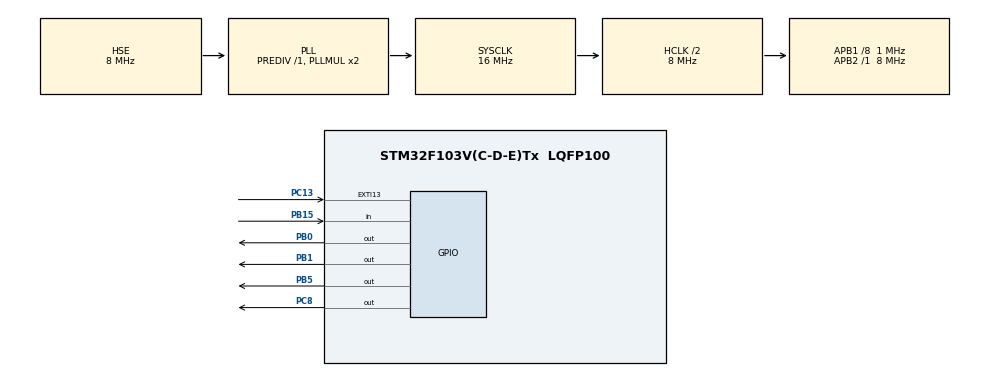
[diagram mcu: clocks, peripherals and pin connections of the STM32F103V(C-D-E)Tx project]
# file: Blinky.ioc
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Mcu.Family=STM32F1
Mcu.Name=STM32F103V(C-D-E)Tx
Mcu.Package=LQFP100
NVIC.EXTI15_10_IRQn=true\:0\:0\:false\:false\:true\:true\:true
NVIC.PriorityGroup=NVIC_PRIORITYGROUP_4
OSC_IN.Mode=HSE-External-Oscillator
OSC_IN.Signal=RCC_OSC_IN
OSC_OUT.Mode=HSE-External-Oscillator
OSC_OUT.Signal=RCC_OSC_OUT
PA13.Mode=Serial_Wire
PA13.Signal=SYS_JTMS-SWDIO
PA14.Mode=Serial_Wire
PA14.Signal=SYS_JTCK-SWCLK
PB0.GPIO_Speed=GPIO_SPEED_FREQ_HIGH
PB0.PinState=GPIO_PIN_SET
PB0.Signal=GPIO_Output
PB1.GPIO_Speed=GPIO_SPEED_FREQ_HIGH
PB1.PinState=GPIO_PIN_SET
PB1.Signal=GPIO_Output
PB15.GPIO_PuPd=GPIO_PULLDOWN
PB15.Signal=GPIO_Input
PB5.GPIO_Speed=GPIO_SPEED_FREQ_HIGH
PB5.PinState=GPIO_PIN_SET
PB5.Signal=GPIO_Output
PC13-TAMPER-RTC.Signal=GPXTI13
PC14-OSC32_IN.Mode=LSE-External-Oscillator
PC14-OSC32_IN.Signal=RCC_OSC32_IN
PC15-OSC32_OUT.Mode=LSE-External-Oscillator
PC15-OSC32_OUT.Signal=RCC_OSC32_OUT
PC8.GPIO_Speed=GPIO_SPEED_FREQ_HIGH
PC8.PinState=GPIO_PIN_RESET
PC8.Signal=GPIO_Output
ProjectManager.HeapSize=0x200
ProjectManager.StackSize=0x400
ProjectManager.TargetToolchain=MDK-ARM V5
RCC.AHBCLKDivider=RCC_SYSCLK_DIV2
RCC.AHBFreq_Value=8000000
RCC.APB1CLKDivider=RCC_HCLK_DIV8
RCC.APB1Freq_Value=1000000
RCC.APB1TimFreq_Value=2000000
RCC.APB2Freq_Value=8000000
RCC.APB2TimFreq_Value=8000000
RCC.HCLKFreq_Value=8000000
RCC.PLLSourceVirtual=RCC_PLLSOURCE_HSE
RCC.SYSCLKFreq_VALUE=16000000
RCC.SYSCLKSource=RCC_SYSCLKSOURCE_PLLCLK
RCC.USBFreq_Value=16000000
board=custom

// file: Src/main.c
/* USER CODE BEGIN Header */
/**
  ******************************************************************************
  * @file           : main.c
  * @brief          : Main program body
  ******************************************************************************
  * @attention
  *
  * <h2><center>&copy; Copyright (c) 2023 STMicroelectronics.
  * All rights reserved.</center></h2>
  *
  * This software component is licensed by ST under BSD 3-Clause license,
  * the "License"; You may not use this file except in compliance with the
  * License. You may obtain a copy of the License at:
  *                        opensource.org/licenses/BSD-3-Clause
  *
  ******************************************************************************
  */
/* USER CODE END Header */

#include "main.h"

/* USER CODE BEGIN Includes */
uint8_t count = 0;
/* USER CODE END Includes */

void SystemClock_Config(void);
static void MX_GPIO_Init(void);

int main(void)
{

  /* MCU Configuration--------------------------------------------------------*/

  /* Reset of all peripherals, Initializes the Flash interface and the Systick. */
  HAL_Init();

  /* Configure the system clock */
  SystemClock_Config();

  /* Initialize all configured peripherals */
  MX_GPIO_Init();

  /* Infinite loop */
  while (1)
  {

    /* USER CODE BEGIN 3 */
		/* Task 1 Blinky */
		/*
		HAL_GPIO_WritePin(GPIOB,GPIO_PIN_5, GPIO_PIN_RESET);
		HAL_Delay(500);
		HAL_GPIO_WritePin(GPIOB,GPIO_PIN_5, GPIO_PIN_SET);
		HAL_Delay(500);
		*/

		/* Task 2 and 3 */

		if(HAL_GPIO_ReadPin(GPIOB,GPIO_PIN_15)){
			if(count % 3 == 0){
				HAL_GPIO_WritePin(GPIOB,GPIO_PIN_5,GPIO_PIN_SET);
				HAL_GPIO_WritePin(GPIOB,GPIO_PIN_0,GPIO_PIN_SET);
				HAL_GPIO_WritePin(GPIOB,GPIO_PIN_1,GPIO_PIN_SET);
				HAL_GPIO_WritePin(GPIOB,GPIO_PIN_5,GPIO_PIN_RESET);
				count++; HAL_Delay(1000);
			}

			else if(count % 3 == 1){
				HAL_GPIO_WritePin(GPIOB,GPIO_PIN_5,GPIO_PIN_SET);
				HAL_GPIO_WritePin(GPIOB,GPIO_PIN_0,GPIO_PIN_SET);
				HAL_GPIO_WritePin(GPIOB,GPIO_PIN_1,GPIO_PIN_SET);
				HAL_GPIO_WritePin(GPIOB,GPIO_PIN_0,GPIO_PIN_RESET);
				count++; HAL_Delay(1000);
			}

			else if(count % 3 == 2){
				HAL_GPIO_WritePin(GPIOB,GPIO_PIN_5,GPIO_PIN_SET);
				HAL_GPIO_WritePin(GPIOB,GPIO_PIN_0,GPIO_PIN_SET);
				HAL_GPIO_WritePin(GPIOB,GPIO_PIN_1,GPIO_PIN_SET);
				HAL_GPIO_WritePin(GPIOB,GPIO_PIN_1,GPIO_PIN_RESET);
				count++; HAL_Delay(1000);
			}
			else
				continue;
		}

	}
  /* USER CODE END 3 */
}

void SystemClock_Config(void)
{
  RCC_OscInitTypeDef RCC_OscInitStruct = {0};
  RCC_ClkInitTypeDef RCC_ClkInitStruct = {0};

  /** Initializes the CPU, AHB and APB busses clocks
  */
  RCC_OscInitStruct.OscillatorType = RCC_OSCILLATORTYPE_HSE;
  RCC_OscInitStruct.HSEState = RCC_HSE_ON;
  RCC_OscInitStruct.HSEPredivValue = RCC_HSE_PREDIV_DIV1;
  RCC_OscInitStruct.HSIState = RCC_HSI_ON;
  RCC_OscInitStruct.PLL.PLLState = RCC_PLL_ON;
  RCC_OscInitStruct.PLL.PLLSource = RCC_PLLSOURCE_HSE;
  RCC_OscInitStruct.PLL.PLLMUL = RCC_PLL_MUL2;
  if (HAL_RCC_OscConfig(&RCC_OscInitStruct) != HAL_OK)
  {
    Error_Handler();
  }
  /** Initializes the CPU, AHB and APB busses clocks
  */
  RCC_ClkInitStruct.ClockType = RCC_CLOCKTYPE_HCLK|RCC_CLOCKTYPE_SYSCLK
                              |RCC_CLOCKTYPE_PCLK1|RCC_CLOCKTYPE_PCLK2;
  RCC_ClkInitStruct.SYSCLKSource = RCC_SYSCLKSOURCE_PLLCLK;
  RCC_ClkInitStruct.AHBCLKDivider = RCC_SYSCLK_DIV2;
  RCC_ClkInitStruct.APB1CLKDivider = RCC_HCLK_DIV8;
  RCC_ClkInitStruct.APB2CLKDivider = RCC_HCLK_DIV1;

  if (HAL_RCC_ClockConfig(&RCC_ClkInitStruct, FLASH_LATENCY_0) != HAL_OK)
  {
    Error_Handler();
  }
}

static void MX_GPIO_Init(void)
{
  GPIO_InitTypeDef GPIO_InitStruct = {0};

  /* GPIO Ports Clock Enable */
  __HAL_RCC_GPIOC_CLK_ENABLE();
  __HAL_RCC_GPIOB_CLK_ENABLE();
  __HAL_RCC_GPIOA_CLK_ENABLE();

  /*Configure GPIO pin Output Level */
  HAL_GPIO_WritePin(GPIOB, GPIO_PIN_0|GPIO_PIN_1|GPIO_PIN_5, GPIO_PIN_SET);

  /*Configure GPIO pin Output Level */
  HAL_GPIO_WritePin(GPIOC, GPIO_PIN_8, GPIO_PIN_RESET);

  /*Configure GPIO pin : PC13 */
  GPIO_InitStruct.Pin = GPIO_PIN_13;
  GPIO_InitStruct.Mode = GPIO_MODE_IT_RISING;
  GPIO_InitStruct.Pull = GPIO_NOPULL;
  HAL_GPIO_Init(GPIOC, &GPIO_InitStruct);

  /*Configure GPIO pins : PB0 PB1 PB5 */
  GPIO_InitStruct.Pin = GPIO_PIN_0|GPIO_PIN_1|GPIO_PIN_5;
  GPIO_InitStruct.Mode = GPIO_MODE_OUTPUT_PP;
  GPIO_InitStruct.Pull = GPIO_NOPULL;
  GPIO_InitStruct.Speed = GPIO_SPEED_FREQ_HIGH;
  HAL_GPIO_Init(GPIOB, &GPIO_InitStruct);

  /*Configure GPIO pin : PB15 */
  GPIO_InitStruct.Pin = GPIO_PIN_15;
  GPIO_InitStruct.Mode = GPIO_MODE_INPUT;
  GPIO_InitStruct.Pull = GPIO_PULLDOWN;
  HAL_GPIO_Init(GPIOB, &GPIO_InitStruct);

  /*Configure GPIO pin : PC8 */
  GPIO_InitStruct.Pin = GPIO_PIN_8;
  GPIO_InitStruct.Mode = GPIO_MODE_OUTPUT_PP;
  GPIO_InitStruct.Pull = GPIO_NOPULL;
  GPIO_InitStruct.Speed = GPIO_SPEED_FREQ_HIGH;
  HAL_GPIO_Init(GPIOC, &GPIO_InitStruct);

  /* EXTI interrupt init*/
  HAL_NVIC_SetPriority(EXTI15_10_IRQn, 0, 0);
  HAL_NVIC_EnableIRQ(EXTI15_10_IRQn);

}

void Error_Handler(void)
{
}

/************************ (C) COPYRIGHT STMicroelectronics *****END OF FILE****/
